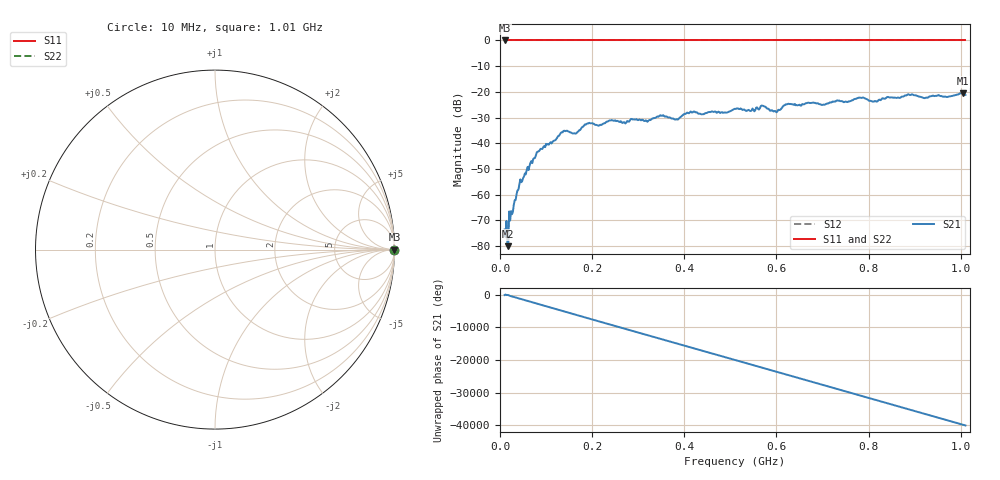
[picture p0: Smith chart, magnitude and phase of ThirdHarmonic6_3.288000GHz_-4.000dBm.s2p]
! 8/17/2025 10:12:58 AM
! C:\ANRITSUVNA\TEMP\TEMP.S2P
! CHANNEL.1
! TR.MEASUREMENT
! RAW.DATA
! RF.CORRECTION.OFF
! AVERAGING.OFF
! IF.BANDWIDTH: 5KHZ
! SWEEPTYPE:  FREQ.SWEEP(Linear)
! Reference Plane Port Info
! PORT:  PORT1  PORT2
! DISTANCE:  0  m  0  m
! TIME:  0  s  0  s
! PHASE.OFFSET:  0  deg.  0  deg.
! LOSS:  0  dB  0  dB
! REF.LOSS:  0  dB  0  dB
! REF.FREQ:  0  Hz  0  Hz
! Power Info
! POWER:  -20  dBm  -20  dBm
! EFF.POWER:  -20  dBm  -20  dBm
! SOURCE.ATTEN:  0  dB  0  dB
! TEST.ATTEN:  0  dB  0  dB
# GHZ S RI R 50.0
! FREQ.GHZ  S11RE  S11IM  S21RE  S21IM  S12RE  S12IM  S22RE  S22IM
!; PortSelection: Port_12
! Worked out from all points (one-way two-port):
!   501 points, 10 MHz to 1.01 GHz, reference 50 ohm
!   highest |S21| = -20.58 dB at 1.004 GHz (marker M1); lowest = -80.1 dB at 18 MHz (marker M2)
!   lowest |S11| = 0.0 dB at 10 MHz (marker M3)
!   |S11| at or under -10 dB: nowhere
!   |S22| runs from 0.0 to 0.0 dB; largest |S21 - S12| = 1.1
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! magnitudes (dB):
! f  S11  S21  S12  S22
! 10 MHz  0.0  -73.6  0.0  0.0
! 14 MHz  0.0  -70.3  0.0  0.0
! 18 MHz  0.0  -80.1  0.0  0.0
! 24 MHz  0.0  -66.4  0.0  0.0
! 42 MHz  0.0  -56.0  0.0  0.0
! 84 MHz  0.0  -43.2  0.0  0.0
! 136 MHz  0.0  -35.8  0.0  0.0
! 162 MHz  0.0  -36.2  0.0  0.0
! 178 MHz  0.0  -33.8  0.0  0.0
! 192 MHz  0.0  -32.3  0.0  0.0
! 318 MHz  0.0  -31.3  0.0  0.0
! 344 MHz  0.0  -29.7  0.0  0.0
! 382 MHz  0.0  -30.7  0.0  0.0
! 410 MHz  0.0  -28.4  0.0  0.0
! 510 MHz  0.0  -26.6  0.0  0.0
! 570 MHz  0.0  -25.4  0.0  0.0
! 598 MHz  0.0  -27.5  0.0  0.0
! 622 MHz  0.0  -24.9  0.0  0.0
! 678 MHz  0.0  -24.3  0.0  0.0
! 844 MHz  0.0  -22.1  0.0  0.0
! 1.004 GHz  0.0  -20.6  0.0  0.0
! 1.01 GHz  0.0  -21.2  0.0  0.0
